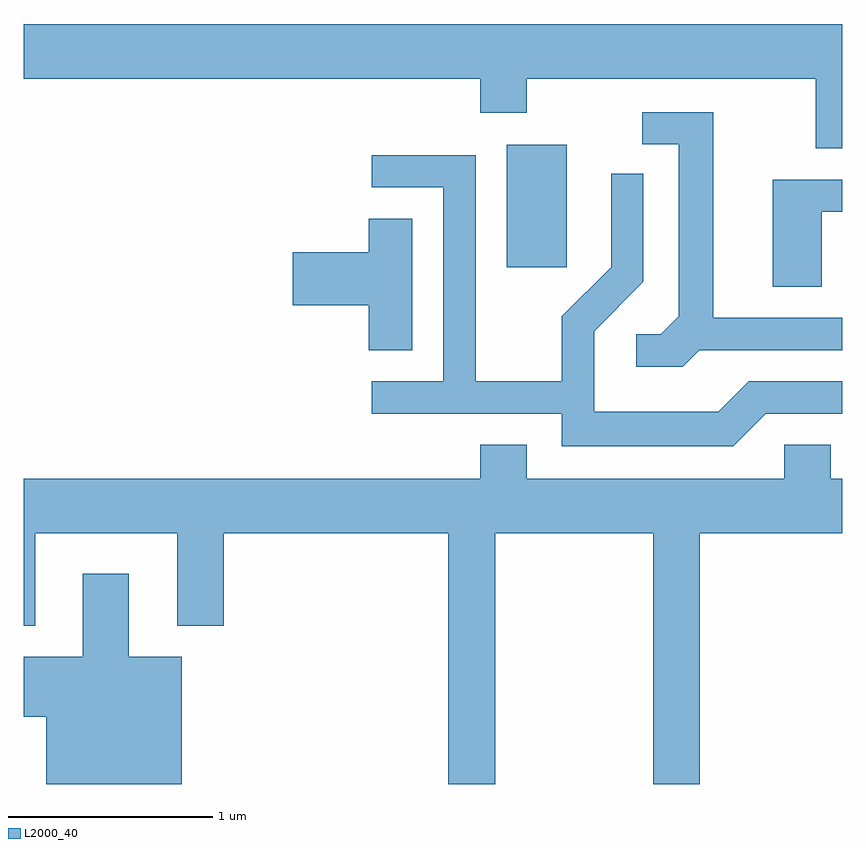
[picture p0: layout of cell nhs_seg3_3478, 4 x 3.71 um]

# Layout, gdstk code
import gdstk
lib = gdstk.Library(unit=1e-6, precision=1e-09)
def R(c, l, rs):  # rectangles x0, y0, x1, y1
    for r in rs: c.add(gdstk.rectangle(r[:2], r[2:], *l))
def P(c, l, *ps):  # polygons
    for p in ps: c.add(gdstk.Polygon(p, *l))
L2000_40 = (2000, 40)

nhs_seg3_3478 = lib.new_cell('nhs_seg3_3478')
R(nhs_seg3_3478, L2000_40, [(289.971,1138.416,290.264,1139.014)])
P(nhs_seg3_3478, L2000_40, [(291.611,1139.604),(287.611,1139.604),(287.611,1139.336),(289.841,1139.336),(289.841,1139.171),(290.069,1139.171),(290.069,1139.336),(291.481,1139.336),(291.481,1138.996),(291.611,1138.996)],
  [(290.912,1138.011),(291.611,1138.011),(291.611,1138.169),(290.979,1138.169),(290.979,1139.174),(290.633,1139.174),(290.633,1139.016),(290.811,1139.016),(290.811,1138.177),(290.724,1138.089),(290.603,1138.089),(290.603,1137.931),(290.832,1137.931)],
  [(291.237,1137.701),(291.611,1137.701),(291.611,1137.859),(291.154,1137.859),(291.004,1137.709),(290.399,1137.709),(290.399,1138.104),(290.639,1138.344),(290.639,1138.873),(290.481,1138.873),(290.481,1138.417),(290.241,1138.177),(290.241,1137.859),(289.819,1137.859),(289.819,1138.964),(289.313,1138.964),(289.313,1138.806),(289.661,1138.806),(289.661,1137.859),(289.313,1137.859),(289.313,1137.701),(290.241,1137.701),(290.241,1137.541),(291.077,1137.541)],
  [(291.509,1138.686),(291.611,1138.686),(291.611,1138.844),(291.271,1138.844),(291.271,1138.321),(291.509,1138.321)],
  [(289.509,1138.654),(289.296,1138.654),(289.296,1138.489),(288.926,1138.489),(288.926,1138.231),(289.296,1138.231),(289.296,1138.011),(289.509,1138.011)],
  [(289.914,1137.116),(290.686,1137.116),(290.686,1135.892),(290.914,1135.892),(290.914,1137.116),(291.611,1137.116),(291.611,1137.384),(291.554,1137.384),(291.554,1137.549),(291.326,1137.549),(291.326,1137.384),(290.069,1137.384),(290.069,1137.549),(289.841,1137.549),(289.841,1137.384),(287.611,1137.384),(287.611,1136.666),(287.669,1136.666),(287.669,1137.116),(288.361,1137.116),(288.361,1136.666),(288.589,1136.666),(288.589,1137.116),(289.686,1137.116),(289.686,1135.892),(289.914,1135.892)],
  [(288.384,1136.514),(288.124,1136.514),(288.124,1136.919),(287.901,1136.919),(287.901,1136.514),(287.611,1136.514),(287.611,1136.221),(287.721,1136.221),(287.721,1135.892),(288.384,1135.892)])

lib.write_gds('nhs_seg3_3478.gds')
